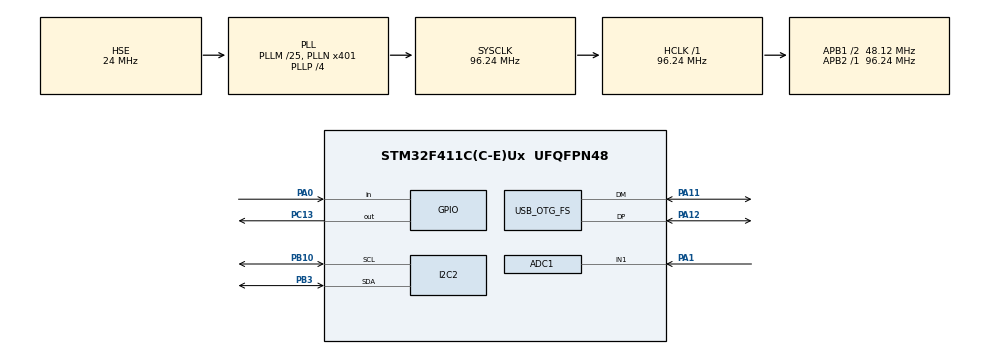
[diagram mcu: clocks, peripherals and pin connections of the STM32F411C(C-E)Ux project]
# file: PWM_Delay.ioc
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ADC1.Channel-0\#ChannelRegularConversion=ADC_CHANNEL_1
ADC1.ClockPrescaler=ADC_CLOCK_SYNC_PCLK_DIV4
ADC1.ContinuousConvMode=DISABLE
ADC1.NbrOfConversionFlag=1
ADC1.Rank-0\#ChannelRegularConversion=1
ADC1.SamplingTime-0\#ChannelRegularConversion=ADC_SAMPLETIME_3CYCLES
ADC1.master=1
I2C2.I2C_Mode=I2C_Fast
Mcu.Family=STM32F4
Mcu.Name=STM32F411C(C-E)Ux
Mcu.Package=UFQFPN48
NVIC.OTG_FS_IRQn=true\:0\:0\:false\:false\:true\:false\:true\:true
NVIC.PriorityGroup=NVIC_PRIORITYGROUP_4
PA0-WKUP.GPIO_PuPd=GPIO_PULLUP
PA0-WKUP.Signal=GPIO_Input
PA1.Signal=ADCx_IN1
PA11.Mode=Device_Only
PA11.Signal=USB_OTG_FS_DM
PA12.Mode=Device_Only
PA12.Signal=USB_OTG_FS_DP
PA13.Mode=Serial_Wire
PA13.Signal=SYS_JTMS-SWDIO
PA14.Mode=Serial_Wire
PA14.Signal=SYS_JTCK-SWCLK
PB10.GPIO_Pu=GPIO_PULLUP
PB10.Mode=I2C
PB10.Signal=I2C2_SCL
PB3.GPIO_Pu=GPIO_PULLUP
PB3.Mode=I2C
PB3.Signal=I2C2_SDA
PC13-ANTI_TAMP.GPIO_PuPd=GPIO_PULLUP
PC13-ANTI_TAMP.Signal=GPIO_Output
PH0\ -\ OSC_IN.Mode=HSE-External-Oscillator
PH0\ -\ OSC_IN.Signal=RCC_OSC_IN
PH1\ -\ OSC_OUT.Mode=HSE-External-Oscillator
PH1\ -\ OSC_OUT.Signal=RCC_OSC_OUT
ProjectManager.HeapSize=0x200
ProjectManager.StackSize=0x400
ProjectManager.TargetToolchain=STM32CubeIDE
RCC.48MHZClocksFreq_Value=48120000
RCC.AHBFreq_Value=96240000
RCC.APB1CLKDivider=RCC_HCLK_DIV2
RCC.APB1Freq_Value=48120000
RCC.APB1TimFreq_Value=96240000
RCC.APB2Freq_Value=96240000
RCC.APB2TimFreq_Value=96240000
RCC.CortexFreq_Value=96240000
RCC.HCLKFreq_Value=96240000
RCC.HSE_VALUE=24000000
RCC.HSI_VALUE=16000000
RCC.LSE_VALUE=32768
RCC.PLLM=25
RCC.PLLN=401
RCC.PLLP=RCC_PLLP_DIV4
RCC.PLLQ=8
RCC.SYSCLKFreq_VALUE=96240000
RCC.SYSCLKSource=RCC_SYSCLKSOURCE_PLLCLK
RCC.VCOOutputFreq_Value=384960000
SH.ADCx_IN1.0=ADC1_IN1,IN1
USB_DEVICE.CLASS_NAME_FS=CDC
USB_DEVICE.VirtualMode=Cdc
USB_DEVICE.VirtualModeFS=Cdc_FS
USB_OTG_FS.VirtualMode=Device_Only
VP_USB_DEVICE_VS_USB_DEVICE_CDC_FS.Mode=CDC_FS
board=custom

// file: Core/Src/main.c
/* USER CODE BEGIN Header */
/**
 ******************************************************************************
 * @file           : main.c
 * @brief          : Main program body
 ******************************************************************************
 * @attention
 *
 * Copyright (c) 2024 STMicroelectronics.
 * All rights reserved.
 *
 * This software is licensed under terms that can be found in the LICENSE file
 * in the root directory of this software component.
 * If no LICENSE file comes with this software, it is provided AS-IS.
 *
 ******************************************************************************
 */
/* USER CODE END Header */
#include "main.h"
#include "usb_device.h"

/* USER CODE BEGIN Includes */
#include <math.h>

/* USER CODE END Includes */

/* USER CODE BEGIN PD */
#define ZEROSCAlE 0
#define MIDSCALE 1861
#define FULLSCALE 4095
#define ADCRES 12
/* USER CODE END PD */

ADC_HandleTypeDef hadc1;

I2C_HandleTypeDef hi2c2;

/* USER CODE BEGIN PV */
int counts, adcValueOn, adcValueOff;
int ton, toff, timeOut;
double voltsOn;
double voltsOff;
char bufferOn[32];
char bufferOff[32];
uint8_t bufon[2];
uint8_t bufoff[2] = { 0x00, 0x00 };
uint8_t buf[2];
GPIO_PinState pinState;
uint8_t retCDC;
uint32_t unique_id;
char serial_number[25];

/* USER CODE END PV */

void SystemClock_Config(void);
static void MX_GPIO_Init(void);
static void MX_ADC1_Init(void);
static void MX_I2C2_Init(void);
/* USER CODE BEGIN PFP */
uint32_t readADCValue(void);
extern uint8_t CDC_Transmit_FS(uint8_t *Buf, uint16_t Len);
double count2volt(int res, int count);
/* USER CODE END PFP */

int main(void)
{

  /* MCU Configuration--------------------------------------------------------*/

  /* Reset of all peripherals, Initializes the Flash interface and the Systick. */
  HAL_Init();

  /* USER CODE BEGIN Init */
	//HAL_StatusTypeDef RET;
  /* USER CODE END Init */

  /* Configure the system clock */
  SystemClock_Config();

  /* Initialize all configured peripherals */
  MX_GPIO_Init();
  MX_ADC1_Init();
  MX_I2C2_Init();
  MX_USB_DEVICE_Init();
  /* USER CODE BEGIN 2 */
	//HAL_ADC_Start_IT(&hadc1);
  /* USER CODE END 2 */

  /* Infinite loop */
  /* USER CODE BEGIN WHILE */

	while (1) {
		pinState = HAL_GPIO_ReadPin(GPIOA, GPIO_PIN_0);

		if (pinState != GPIO_PIN_RESET) {
			bufon[0] = MIDSCALE >> 8;
			bufon[1] = MIDSCALE;
			ton = 1000; toff = 1000;
		}
		else {
			bufon[0] = FULLSCALE >> 8;
			bufon[1] = FULLSCALE;
			ton = 500; toff = 500;
		}

		if (HAL_I2C_Master_Transmit(&hi2c2, (0x60 << 1), bufon, 2, 50) == HAL_OK) {
			adcValueOn = readADCValue();
		}
		voltsOn = count2volt(ADCRES, adcValueOn);
		sprintf(bufferOn, "%.2f\r\n", voltsOn);
		//ton = (80 * adcValueOn / 4096 + 10);
		if(CDC_Transmit_FS(bufferOn, sizeof(bufferOn)) == 0) {
			HAL_Delay(ton);
		}

		if (HAL_I2C_Master_Transmit(&hi2c2, (0x60 << 1), bufoff, 2, 50) == HAL_OK) {
			adcValueOff = readADCValue();
		}
		voltsOff = count2volt(ADCRES, adcValueOff);
		sprintf(bufferOff, "%.2f\r\n", voltsOff);
		if(CDC_Transmit_FS(bufferOff, sizeof(bufferOff)) == 0) {
			HAL_Delay(toff);
		}

/*          // Solicitado no exercício

		if (HAL_I2C_Master_Transmit(&hi2c2, (0x60 << 1), bufon, 2, 50) == HAL_OK) {
			adcValueOn = readADCValue();
			ton = (80 * adcValueOn / 4096 + 10);
			HAL_Delay(ton);
		}

		if (HAL_I2C_Master_Transmit(&hi2c2, (0x60 << 1), bufoff, 2, 50) == HAL_OK) {
			adcValueOff = readADCValue();
			HAL_Delay((100 - ton) );
		}
*/

    /* USER CODE END WHILE */

	}
}

void SystemClock_Config(void)
{
  RCC_OscInitTypeDef RCC_OscInitStruct = {0};
  RCC_ClkInitTypeDef RCC_ClkInitStruct = {0};

  /** Configure the main internal regulator output voltage
  */
  __HAL_RCC_PWR_CLK_ENABLE();
  __HAL_PWR_VOLTAGESCALING_CONFIG(PWR_REGULATOR_VOLTAGE_SCALE1);

  /** Initializes the RCC Oscillators according to the specified parameters
  * in the RCC_OscInitTypeDef structure.
  */
  RCC_OscInitStruct.OscillatorType = RCC_OSCILLATORTYPE_HSE;
  RCC_OscInitStruct.HSEState = RCC_HSE_ON;
  RCC_OscInitStruct.PLL.PLLState = RCC_PLL_ON;
  RCC_OscInitStruct.PLL.PLLSource = RCC_PLLSOURCE_HSE;
  RCC_OscInitStruct.PLL.PLLM = 25;
  RCC_OscInitStruct.PLL.PLLN = 401;
  RCC_OscInitStruct.PLL.PLLP = RCC_PLLP_DIV4;
  RCC_OscInitStruct.PLL.PLLQ = 8;
  if (HAL_RCC_OscConfig(&RCC_OscInitStruct) != HAL_OK)
  {
    Error_Handler();
  }

  /** Initializes the CPU, AHB and APB buses clocks
  */
  RCC_ClkInitStruct.ClockType = RCC_CLOCKTYPE_HCLK|RCC_CLOCKTYPE_SYSCLK
                              |RCC_CLOCKTYPE_PCLK1|RCC_CLOCKTYPE_PCLK2;
  RCC_ClkInitStruct.SYSCLKSource = RCC_SYSCLKSOURCE_PLLCLK;
  RCC_ClkInitStruct.AHBCLKDivider = RCC_SYSCLK_DIV1;
  RCC_ClkInitStruct.APB1CLKDivider = RCC_HCLK_DIV2;
  RCC_ClkInitStruct.APB2CLKDivider = RCC_HCLK_DIV1;

  if (HAL_RCC_ClockConfig(&RCC_ClkInitStruct, FLASH_LATENCY_3) != HAL_OK)
  {
    Error_Handler();
  }
}

static void MX_ADC1_Init(void)
{

  ADC_ChannelConfTypeDef sConfig = {0};

  /** Configure the global features of the ADC (Clock, Resolution, Data Alignment and number of conversion)
  */
  hadc1.Instance = ADC1;
  hadc1.Init.ClockPrescaler = ADC_CLOCK_SYNC_PCLK_DIV4;
  hadc1.Init.Resolution = ADC_RESOLUTION_12B;
  hadc1.Init.ScanConvMode = DISABLE;
  hadc1.Init.ContinuousConvMode = DISABLE;
  hadc1.Init.DiscontinuousConvMode = DISABLE;
  hadc1.Init.ExternalTrigConvEdge = ADC_EXTERNALTRIGCONVEDGE_NONE;
  hadc1.Init.ExternalTrigConv = ADC_SOFTWARE_START;
  hadc1.Init.DataAlign = ADC_DATAALIGN_RIGHT;
  hadc1.Init.NbrOfConversion = 1;
  hadc1.Init.DMAContinuousRequests = DISABLE;
  hadc1.Init.EOCSelection = ADC_EOC_SINGLE_CONV;
  if (HAL_ADC_Init(&hadc1) != HAL_OK)
  {
    Error_Handler();
  }

  /** Configure for the selected ADC regular channel its corresponding rank in the sequencer and its sample time.
  */
  sConfig.Channel = ADC_CHANNEL_1;
  sConfig.Rank = 1;
  sConfig.SamplingTime = ADC_SAMPLETIME_3CYCLES;
  if (HAL_ADC_ConfigChannel(&hadc1, &sConfig) != HAL_OK)
  {
    Error_Handler();
  }

}

static void MX_I2C2_Init(void)
{

  hi2c2.Instance = I2C2;
  hi2c2.Init.ClockSpeed = 400000;
  hi2c2.Init.DutyCycle = I2C_DUTYCYCLE_2;
  hi2c2.Init.OwnAddress1 = 0;
  hi2c2.Init.AddressingMode = I2C_ADDRESSINGMODE_7BIT;
  hi2c2.Init.DualAddressMode = I2C_DUALADDRESS_DISABLE;
  hi2c2.Init.OwnAddress2 = 0;
  hi2c2.Init.GeneralCallMode = I2C_GENERALCALL_DISABLE;
  hi2c2.Init.NoStretchMode = I2C_NOSTRETCH_DISABLE;
  if (HAL_I2C_Init(&hi2c2) != HAL_OK)
  {
    Error_Handler();
  }

}

static void MX_GPIO_Init(void)
{
  GPIO_InitTypeDef GPIO_InitStruct = {0};

  /* GPIO Ports Clock Enable */
  __HAL_RCC_GPIOC_CLK_ENABLE();
  __HAL_RCC_GPIOH_CLK_ENABLE();
  __HAL_RCC_GPIOA_CLK_ENABLE();
  __HAL_RCC_GPIOB_CLK_ENABLE();

  /*Configure GPIO pin Output Level */
  HAL_GPIO_WritePin(GPIOC, GPIO_PIN_13, GPIO_PIN_RESET);

  /*Configure GPIO pin : PC13 */
  GPIO_InitStruct.Pin = GPIO_PIN_13;
  GPIO_InitStruct.Mode = GPIO_MODE_OUTPUT_PP;
  GPIO_InitStruct.Pull = GPIO_PULLUP;
  GPIO_InitStruct.Speed = GPIO_SPEED_FREQ_LOW;
  HAL_GPIO_Init(GPIOC, &GPIO_InitStruct);

  /*Configure GPIO pin : PA0 */
  GPIO_InitStruct.Pin = GPIO_PIN_0;
  GPIO_InitStruct.Mode = GPIO_MODE_INPUT;
  GPIO_InitStruct.Pull = GPIO_PULLUP;
  HAL_GPIO_Init(GPIOA, &GPIO_InitStruct);

}

/* USER CODE BEGIN 4 */
/*void HAL_ADC_ConvCpltCallback(ADC_HandleTypeDef *hadc1) {
 adcValue = HAL_ADC_GetValue(hadc1);
 //ton=(((80*adcValue)/4095)+10);
 //toff=100-ton;
 HAL_ADC_Stop_IT(hadc1);
 }*/

uint32_t readADCValue(void) {
	uint32_t adc_value = 0;

	// Inicia a conversão do ADC de forma síncrona
	if (HAL_ADC_Start(&hadc1) == HAL_OK) {
		// Espera até que a conversão seja concluída
		if (HAL_ADC_PollForConversion(&hadc1, 100) == HAL_OK) {
			// Obtém o valor convertido
			adc_value = HAL_ADC_GetValue(&hadc1);
		}
		// Stop ADC to save power and resources
		HAL_ADC_Stop(&hadc1);
	}

	return adc_value;
}

/* USER CODE END 4 */

void Error_Handler(void)
{
	__disable_irq();
	while (1) {
	}
}
